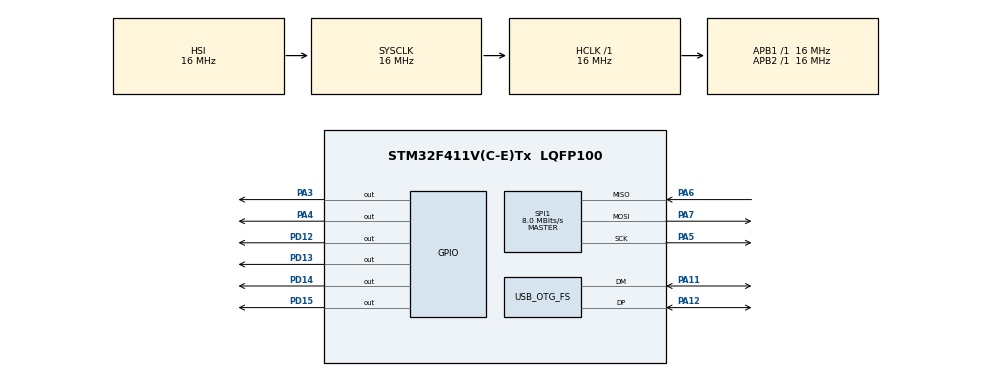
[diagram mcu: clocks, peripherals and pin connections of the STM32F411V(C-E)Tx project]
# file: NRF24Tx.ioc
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FREERTOS.Tasks01=defaultTask,0,128,StartDefaultTask,Default,NULL
Mcu.Family=STM32F4
Mcu.Name=STM32F411V(C-E)Tx
Mcu.Package=LQFP100
NVIC.OTG_FS_IRQn=true\:5\:0\:false\:false\:true\:true\:false
NVIC.PriorityGroup=NVIC_PRIORITYGROUP_4
NVIC.TIM1_UP_TIM10_IRQn=true\:0\:0\:false\:false\:true\:false\:false
NVIC.TimeBase=TIM1_UP_TIM10_IRQn
NVIC.TimeBaseIP=TIM10
PA11.Mode=Device_Only
PA11.Signal=USB_OTG_FS_DM
PA12.Mode=Device_Only
PA12.Signal=USB_OTG_FS_DP
PA13.Mode=Serial_Wire
PA13.Signal=SYS_JTMS-SWDIO
PA14.Mode=Serial_Wire
PA14.Signal=SYS_JTCK-SWCLK
PA3.Signal=GPIO_Output
PA4.Signal=GPIO_Output
PA5.Mode=Full_Duplex_Master
PA5.Signal=SPI1_SCK
PA6.Mode=Full_Duplex_Master
PA6.Signal=SPI1_MISO
PA7.Mode=Full_Duplex_Master
PA7.Signal=SPI1_MOSI
PD12.Signal=GPIO_Output
PD13.Signal=GPIO_Output
PD14.Signal=GPIO_Output
PD15.Signal=GPIO_Output
PH0\ -\ OSC_IN.Mode=HSE-External-Oscillator
PH0\ -\ OSC_IN.Signal=RCC_OSC_IN
PH1\ -\ OSC_OUT.Mode=HSE-External-Oscillator
PH1\ -\ OSC_OUT.Signal=RCC_OSC_OUT
ProjectManager.HeapSize=0x200
ProjectManager.StackSize=0x400
ProjectManager.TargetToolchain=TrueSTUDIO
RCC.48MHZClocksFreq_Value=48000000
RCC.AHBFreq_Value=16000000
RCC.APB1Freq_Value=16000000
RCC.APB2Freq_Value=16000000
RCC.CortexFreq_Value=16000000
RCC.HSE_VALUE=8000000
RCC.HSI_VALUE=16000000
RCC.LSE_VALUE=32768
RCC.PLLM=4
RCC.PLLN=72
RCC.PLLQ=3
RCC.SYSCLKFreq_VALUE=16000000
RCC.VCOOutputFreq_Value=144000000
SPI1.CalculateBaudRate=8.0 MBits/s
SPI1.Direction=SPI_DIRECTION_2LINES
SPI1.Mode=SPI_MODE_MASTER
SPI1.VirtualType=VM_MASTER
USB_DEVICE.CLASS_NAME_FS=CDC
USB_DEVICE.VirtualMode=Cdc
USB_DEVICE.VirtualModeFS=Cdc_FS
USB_OTG_FS.VirtualMode=Device_Only
VP_FREERTOS_VS_ENABLE.Mode=Enabled
VP_SYS_VS_tim10.Mode=TIM10
VP_USB_DEVICE_VS_USB_DEVICE_CDC_FS.Mode=CDC_FS
board=custom

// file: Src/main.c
/**
  ******************************************************************************
  * @file           : main.c
  * @brief          : Main program body
  ******************************************************************************
  * This notice applies to any and all portions of this file
  * that are not between comment pairs USER CODE BEGIN and
  * USER CODE END. Other portions of this file, whether
  * inserted by the user or by software development tools
  * are owned by their respective copyright owners.
  *
  * Copyright (c) 2018 STMicroelectronics International N.V.
  * All rights reserved.
  *
  * Redistribution and use in source and binary forms, with or without
  * modification, are permitted, provided that the following conditions are met:
  *
  * 1. Redistribution of source code must retain the above copyright notice,
  *    this list of conditions and the following disclaimer.
  * 2. Redistributions in binary form must reproduce the above copyright notice,
  *    this list of conditions and the following disclaimer in the documentation
  *    and/or other materials provided with the distribution.
  * 3. Neither the name of STMicroelectronics nor the names of other
  *    contributors to this software may be used to endorse or promote products
  *    derived from this software without specific written permission.
  * 4. This software, including modifications and/or derivative works of this
  *    software, must execute solely and exclusively on microcontroller or
  *    microprocessor devices manufactured by or for STMicroelectronics.
  * 5. Redistribution and use of this software other than as permitted under
  *    this license is void and will automatically terminate your rights under
  *    this license.
  *
  * THIS SOFTWARE IS PROVIDED BY STMICROELECTRONICS AND CONTRIBUTORS "AS IS"
  * AND ANY EXPRESS, IMPLIED OR STATUTORY WARRANTIES, INCLUDING, BUT NOT
  * LIMITED TO, THE IMPLIED WARRANTIES OF MERCHANTABILITY, FITNESS FOR A
  * PARTICULAR PURPOSE AND NON-INFRINGEMENT OF THIRD PARTY INTELLECTUAL PROPERTY
  * RIGHTS ARE DISCLAIMED TO THE FULLEST EXTENT PERMITTED BY LAW. IN NO EVENT
  * SHALL STMICROELECTRONICS OR CONTRIBUTORS BE LIABLE FOR ANY DIRECT, INDIRECT,
  * INCIDENTAL, SPECIAL, EXEMPLARY, OR CONSEQUENTIAL DAMAGES (INCLUDING, BUT NOT
  * LIMITED TO, PROCUREMENT OF SUBSTITUTE GOODS OR SERVICES; LOSS OF USE, DATA,
  * OR PROFITS; OR BUSINESS INTERRUPTION) HOWEVER CAUSED AND ON ANY THEORY OF
  * LIABILITY, WHETHER IN CONTRACT, STRICT LIABILITY, OR TORT (INCLUDING
  * NEGLIGENCE OR OTHERWISE) ARISING IN ANY WAY OUT OF THE USE OF THIS SOFTWARE,
  * EVEN IF ADVISED OF THE POSSIBILITY OF SUCH DAMAGE.
  *
  ******************************************************************************
  */
#include "main.h"
#include "stm32f4xx_hal.h"
#include "cmsis_os.h"
#include "usb_device.h"

/* USER CODE BEGIN Includes */
#include "nrf24.h"
#include "nrf24_hal.h"
/* USER CODE END Includes */

SPI_HandleTypeDef hspi1;

osThreadId defaultTaskHandle;

/* USER CODE BEGIN PV */
/* Private variables ---------------------------------------------------------*/
#define DEMO_TX_SINGLE 0
#define DEMO_RX_SINGLE 1
// Kinda foolproof :)
#if ((DEMO_RX_SINGLE + DEMO_TX_SINGLE) != 1)
#error "Define only one DEMO_xx, use the '1' value"
#endif

#define nRF24_WAIT_TIMEOUT         (uint32_t)0x000FFFFF

typedef enum {
	nRF24_TX_ERROR  = (uint8_t)0x00, // Unknown error
	nRF24_TX_SUCCESS,                // Packet has been transmitted successfully
	nRF24_TX_TIMEOUT,                // It was timeout during packet transmit
	nRF24_TX_MAXRT                   // Transmit failed with maximum auto retransmit count
} nRF24_TXResult;

// Buffer to store a payload of maximum width
uint8_t nRF24_payload[32];

// Pipe number
nRF24_RXResult pipe;

// Length of received payload
uint8_t payload_length;
/* USER CODE END PV */

void SystemClock_Config(void);
static void MX_GPIO_Init(void);
static void MX_SPI1_Init(void);
void StartDefaultTask(void const * argument);

/* USER CODE BEGIN PFP */
/* Private function prototypes -----------------------------------------------*/

/* USER CODE END PFP */

int main(void)
{

  /* MCU Configuration----------------------------------------------------------*/

  /* Reset of all peripherals, Initializes the Flash interface and the Systick. */
  HAL_Init();

  /* Configure the system clock */
  SystemClock_Config();

  /* Initialize all configured peripherals */
  MX_GPIO_Init();
  MX_SPI1_Init();
  /* USER CODE BEGIN 2 */
  nRF24_GPIO_Init();
  /* USER CODE END 2 */

  /* Create the thread(s) */
  /* definition and creation of defaultTask */
  osThreadDef(defaultTask, StartDefaultTask, osPriorityNormal, 0, 128);
  defaultTaskHandle = osThreadCreate(osThread(defaultTask), NULL);

  /* Start scheduler */
  osKernelStart();

  /* We should never get here as control is now taken by the scheduler */

  /* Infinite loop */
  while (1)
  {

  }

}

void SystemClock_Config(void)
{

  RCC_OscInitTypeDef RCC_OscInitStruct;
  RCC_ClkInitTypeDef RCC_ClkInitStruct;

    /**Configure the main internal regulator output voltage
    */
  __HAL_RCC_PWR_CLK_ENABLE();

  __HAL_PWR_VOLTAGESCALING_CONFIG(PWR_REGULATOR_VOLTAGE_SCALE1);

    /**Initializes the CPU, AHB and APB busses clocks
    */
  RCC_OscInitStruct.OscillatorType = RCC_OSCILLATORTYPE_HSI|RCC_OSCILLATORTYPE_HSE;
  RCC_OscInitStruct.HSEState = RCC_HSE_ON;
  RCC_OscInitStruct.HSIState = RCC_HSI_ON;
  RCC_OscInitStruct.HSICalibrationValue = 16;
  RCC_OscInitStruct.PLL.PLLState = RCC_PLL_ON;
  RCC_OscInitStruct.PLL.PLLSource = RCC_PLLSOURCE_HSE;
  RCC_OscInitStruct.PLL.PLLM = 4;
  RCC_OscInitStruct.PLL.PLLN = 72;
  RCC_OscInitStruct.PLL.PLLP = RCC_PLLP_DIV2;
  RCC_OscInitStruct.PLL.PLLQ = 3;
  if (HAL_RCC_OscConfig(&RCC_OscInitStruct) != HAL_OK)
  {
    _Error_Handler(__FILE__, __LINE__);
  }

    /**Initializes the CPU, AHB and APB busses clocks
    */
  RCC_ClkInitStruct.ClockType = RCC_CLOCKTYPE_HCLK|RCC_CLOCKTYPE_SYSCLK
                              |RCC_CLOCKTYPE_PCLK1|RCC_CLOCKTYPE_PCLK2;
  RCC_ClkInitStruct.SYSCLKSource = RCC_SYSCLKSOURCE_HSI;
  RCC_ClkInitStruct.AHBCLKDivider = RCC_SYSCLK_DIV1;
  RCC_ClkInitStruct.APB1CLKDivider = RCC_HCLK_DIV1;
  RCC_ClkInitStruct.APB2CLKDivider = RCC_HCLK_DIV1;

  if (HAL_RCC_ClockConfig(&RCC_ClkInitStruct, FLASH_LATENCY_0) != HAL_OK)
  {
    _Error_Handler(__FILE__, __LINE__);
  }

    /**Configure the Systick interrupt time
    */
  HAL_SYSTICK_Config(HAL_RCC_GetHCLKFreq()/1000);

    /**Configure the Systick
    */
  HAL_SYSTICK_CLKSourceConfig(SYSTICK_CLKSOURCE_HCLK);

  /* SysTick_IRQn interrupt configuration */
  HAL_NVIC_SetPriority(SysTick_IRQn, 15, 0);
}

/* SPI1 init function */
static void MX_SPI1_Init(void)
{

//  /* SPI1 parameter configuration*/
//  hspi1.Instance = SPI1;
//  hspi1.Init.Mode = SPI_MODE_MASTER;
//  hspi1.Init.Direction = SPI_DIRECTION_2LINES;
//  hspi1.Init.DataSize = SPI_DATASIZE_8BIT;
//  hspi1.Init.CLKPolarity = SPI_POLARITY_LOW;
//  hspi1.Init.CLKPhase = SPI_PHASE_1EDGE;
//  hspi1.Init.NSS = SPI_NSS_SOFT;
//  hspi1.Init.BaudRatePrescaler = SPI_BAUDRATEPRESCALER_2;
//  hspi1.Init.FirstBit = SPI_FIRSTBIT_MSB;
//  hspi1.Init.TIMode = SPI_TIMODE_DISABLE;
//  hspi1.Init.CRCCalculation = SPI_CRCCALCULATION_DISABLE;
//  hspi1.Init.CRCPolynomial = 10;
//  if (HAL_SPI_Init(&hspi1) != HAL_OK)
//  {
//    _Error_Handler(__FILE__, __LINE__);
//  }

}

/** Configure pins as
        * Analog
        * Input
        * Output
        * EVENT_OUT
        * EXTI
*/
static void MX_GPIO_Init(void)
{

  GPIO_InitTypeDef GPIO_InitStruct;

  /* GPIO Ports Clock Enable */
  __HAL_RCC_GPIOH_CLK_ENABLE();
  __HAL_RCC_GPIOA_CLK_ENABLE();
  __HAL_RCC_GPIOD_CLK_ENABLE();

  /*Configure GPIO pin Output Level */
  HAL_GPIO_WritePin(GPIOA, GPIO_PIN_3|GPIO_PIN_4, GPIO_PIN_RESET);

  /*Configure GPIO pin Output Level */
  HAL_GPIO_WritePin(GPIOD, GPIO_PIN_12|GPIO_PIN_13|GPIO_PIN_14|GPIO_PIN_15, GPIO_PIN_RESET);

  /*Configure GPIO pins : PA3 PA4 */
  GPIO_InitStruct.Pin = GPIO_PIN_3|GPIO_PIN_4;
  GPIO_InitStruct.Mode = GPIO_MODE_OUTPUT_PP;
  GPIO_InitStruct.Pull = GPIO_NOPULL;
  GPIO_InitStruct.Speed = GPIO_SPEED_FREQ_LOW;
  HAL_GPIO_Init(GPIOA, &GPIO_InitStruct);

  /*Configure GPIO pins : PD12 PD13 PD14 PD15 */
  GPIO_InitStruct.Pin = GPIO_PIN_12|GPIO_PIN_13|GPIO_PIN_14|GPIO_PIN_15;
  GPIO_InitStruct.Mode = GPIO_MODE_OUTPUT_PP;
  GPIO_InitStruct.Pull = GPIO_NOPULL;
  GPIO_InitStruct.Speed = GPIO_SPEED_FREQ_LOW;
  HAL_GPIO_Init(GPIOD, &GPIO_InitStruct);

}

/* USER CODE BEGIN 4 */
nRF24_TXResult nRF24_TransmitPacket(uint8_t *pBuf, uint8_t length) {
	volatile uint32_t wait = nRF24_WAIT_TIMEOUT;
	uint8_t status;

	// Deassert the CE pin (in case if it still high)
	nRF24_CE_L();

	// Transfer a data from the specified buffer to the TX FIFO
	nRF24_WritePayload(pBuf, length);

	// Start a transmission by asserting CE pin (must be held at least 10us)
	nRF24_CE_H();

	// Poll the transceiver status register until one of the following flags will be set:
	//   TX_DS  - means the packet has been transmitted
	//   MAX_RT - means the maximum number of TX retransmits happened
	// note: this solution is far from perfect, better to use IRQ instead of polling the status
	do {
		status = nRF24_GetStatus();
		if (status & (nRF24_FLAG_TX_DS | nRF24_FLAG_MAX_RT)) {
			break;
		}
	} while (wait--);

	// Deassert the CE pin (Standby-II --> Standby-I)
	nRF24_CE_L();

	if (!wait) {
		// Timeout
		return nRF24_TX_TIMEOUT;
	}

	// Clear pending IRQ flags
    nRF24_ClearIRQFlags();

	if (status & nRF24_FLAG_MAX_RT) {
		// Auto retransmit counter exceeds the programmed maximum limit (FIFO is not removed)
		return nRF24_TX_MAXRT;
	}

	if (status & nRF24_FLAG_TX_DS) {
		// Successful transmission
		return nRF24_TX_SUCCESS;
	}

	// Some banana happens, a payload remains in the TX FIFO, flush it
	nRF24_FlushTX();

	return nRF24_TX_ERROR;
}
/* USER CODE END 4 */

/* StartDefaultTask function */
void StartDefaultTask(void const * argument)
{
  /* init code for USB_DEVICE */
  MX_USB_DEVICE_Init();

  /* USER CODE BEGIN 5 */
  osDelay(400);
  if(nRF24_Check()){
	  HAL_GPIO_WritePin(GPIOD, GPIO_PIN_14, GPIO_PIN_SET);
  }
  nRF24_Init();
  osDelay(600);
	// This is simple transmitter (to one logic address):
	//   - TX address: '0xE7 0x1C 0xE3'
	//   - payload: 5 bytes
	//   - RF channel: 115 (2515MHz)
	//   - data rate: 250kbps (minimum possible, to increase reception reliability)
	//   - CRC scheme: 2 byte
#if (DEMO_TX_SINGLE)

  // The transmitter sends a 5-byte packets to the address '0xE7 0x1C 0xE3' without Auto-ACK (ShockBurst disabled)

  // Disable ShockBurst for all RX pipes
  nRF24_DisableAA(0xFF);

  // Set RF channel
  nRF24_SetRFChannel(115);

  // Set data rate
  nRF24_SetDataRate(nRF24_DR_250kbps);

  // Set CRC scheme
  nRF24_SetCRCScheme(nRF24_CRC_2byte);

  // Set address width, its common for all pipes (RX and TX)
  nRF24_SetAddrWidth(3);

  // Configure TX PIPE

  static const uint8_t nRF24_ADDR[] = { 0xE7, 0x1C, 0xE3 };
  nRF24_SetAddr(nRF24_PIPETX, nRF24_ADDR); // program TX address

  // Set TX power (maximum)
  nRF24_SetTXPower(nRF24_TXPWR_0dBm);

  // Set operational mode (PTX == transmitter)
  nRF24_SetOperationalMode(nRF24_MODE_TX);

  // Clear any pending IRQ flags
  nRF24_ClearIRQFlags();

  // Wake the transceiver
  nRF24_SetPowerMode(nRF24_PWR_UP);
  /* Infinite loop */
  payload_length = 5;

  for(;;)
  {
    osDelay(1000);
    HAL_GPIO_TogglePin(GPIOD, GPIO_PIN_15);
	nRF24_TransmitPacket(nRF24_payload, payload_length);
  }
#endif // DEMO_TX_SINGLE
#if (DEMO_RX_SINGLE)

	// This is simple receiver with one RX pipe:
	//   - pipe#1 address: '0xE7 0x1C 0xE3'
	//   - payload: 5 bytes
	//   - RF channel: 115 (2515MHz)
	//   - data rate: 250kbps (minimum possible, to increase reception reliability)
	//   - CRC scheme: 2 byte

  // The transmitter sends a 5-byte packets to the address '0xE7 0x1C 0xE3' without Auto-ACK (ShockBurst disabled)

  // Disable ShockBurst for all RX pipes
  nRF24_DisableAA(0xFF);

  // Set RF channel
  nRF24_SetRFChannel(115);

  // Set data rate
  nRF24_SetDataRate(nRF24_DR_250kbps);

  // Set CRC scheme
  nRF24_SetCRCScheme(nRF24_CRC_2byte);

  // Set address width, its common for all pipes (RX and TX)
  nRF24_SetAddrWidth(3);

  // Configure RX PIPE#1
  static const uint8_t nRF24_ADDR[] = { 0xE7, 0x1C, 0xE3 };
  nRF24_SetAddr(nRF24_PIPE1, nRF24_ADDR); // program address for RX pipe #1
  nRF24_SetRXPipe(nRF24_PIPE1, nRF24_AA_OFF, 5); // Auto-ACK: disabled, payload length: 5 bytes

  // Set operational mode (PRX == receiver)
  nRF24_SetOperationalMode(nRF24_MODE_RX);

  // Wake the transceiver
  nRF24_SetPowerMode(nRF24_PWR_UP);

  // Put the transceiver to the RX mode
  nRF24_CE_H();

  // The main loop
  while (1) {
  	//
  	// Constantly poll the status of the RX FIFO and get a payload if FIFO is not empty
  	//
  	// This is far from best solution, but it's ok for testing purposes
  	// More smart way is to use the IRQ pin :)
  	//
  	if (nRF24_GetStatus_RXFIFO() != nRF24_STATUS_RXFIFO_EMPTY) {
  		// Get a payload from the transceiver
  		pipe = nRF24_ReadPayload(nRF24_payload, &payload_length);
		nRF24_ClearIRQFlags();
		HAL_GPIO_TogglePin(GPIOD, GPIO_PIN_13);
  	}
  }

#endif // DEMO_RX_SINGLE

/***************************************************************************/

  /* USER CODE END 5 */
}

void HAL_TIM_PeriodElapsedCallback(TIM_HandleTypeDef *htim)
{
  if (htim->Instance == TIM10) {
    HAL_IncTick();
  }
}

void _Error_Handler(char *file, int line)
{
  while(1)
  {
  }
}

/************************ (C) COPYRIGHT STMicroelectronics *****END OF FILE****/
